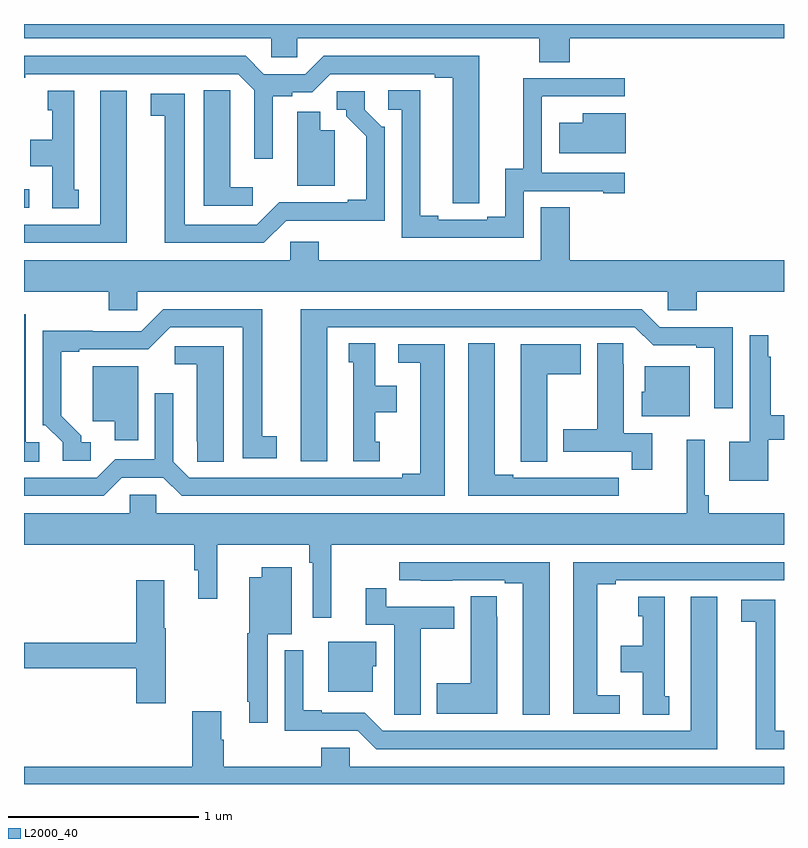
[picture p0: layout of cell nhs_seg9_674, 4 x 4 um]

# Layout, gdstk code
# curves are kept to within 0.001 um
import gdstk
lib = gdstk.Library(unit=1e-6, precision=1e-09)
def R(c, l, rs):  # rectangles x0, y0, x1, y1
    for r in rs: c.add(gdstk.rectangle(r[:2], r[2:], *l))
def P(c, l, *ps):  # polygons
    for p in ps: c.add(gdstk.Polygon(p, *l))
L2000_40 = (2000, 40)

nhs_seg9_674 = lib.new_cell('nhs_seg9_674')
R(nhs_seg9_674, L2000_40, [(145,1191.534,145.027,1191.63)])
P(nhs_seg9_674, L2000_40, [(147.872,1192.424),(149,1192.424),(149,1192.5),(145,1192.5),(145,1192.424),(146.301,1192.424),(146.301,1192.326),(146.439,1192.326),(146.439,1192.424),(147.712,1192.424),(147.712,1192.3),(147.872,1192.3)],
  [(147.396,1191.664),(147.397,1192.332),(146.577,1192.332),(146.481,1192.236),(146.263,1192.236),(146.167,1192.332),(145,1192.332),(145,1192.216),(145.006,1192.216),(145.006,1192.236),(146.127,1192.236),(146.211,1192.152),(146.211,1191.792),(146.308,1191.792),(146.308,1192.12),(146.412,1192.12),(146.412,1192.14),(146.517,1192.14),(146.613,1192.236),(147.161,1192.236),(147.161,1192.216),(147.257,1192.216),(147.257,1191.556),(147.396,1191.556)],
  [(147.63,1191.621),(148.049,1191.621),(148.049,1191.609),(148.162,1191.609),(148.162,1191.717),(147.726,1191.717),(147.726,1192.118),(147.728,1192.118),(147.728,1192.119),(148.162,1192.119),(148.162,1192.215),(147.628,1192.215),(147.628,1191.737),(147.533,1191.737),(147.533,1191.486),(147.437,1191.486),(147.437,1191.471),(147.181,1191.471),(147.181,1191.491),(147.085,1191.491),(147.085,1192.151),(146.916,1192.151),(146.916,1192.05),(146.988,1192.05),(146.988,1191.375),(147.63,1191.375)],
  [(146.203,1191.64),(146.086,1191.64),(146.086,1192.043),(146.085,1192.043),(146.085,1192.151),(145.946,1192.151),(145.946,1191.543),(146.203,1191.543)],
  [(145.288,1191.627),(145.264,1191.627),(145.264,1192.15),(145.124,1192.15),(145.124,1192.047),(145.148,1192.047),(145.148,1191.892),(145.034,1191.892),(145.034,1191.752),(145.148,1191.752),(145.148,1191.529),(145.288,1191.529)],
  [(145.54,1192.15),(145.4,1192.15),(145.4,1191.444),(145,1191.444),(145,1191.348),(145.54,1191.348)],
  [(146.379,1191.465),(146.898,1191.464),(146.898,1191.96),(146.883,1191.96),(146.793,1192.05),(146.793,1192.146),(146.646,1192.146),(146.646,1192.05),(146.696,1192.05),(146.696,1192.015),(146.801,1191.91),(146.801,1191.574),(146.705,1191.574),(146.705,1191.561),(146.343,1191.561),(146.226,1191.444),(145.846,1191.444),(145.846,1192.134),(145.668,1192.134),(145.668,1192.018),(145.742,1192.018),(145.742,1191.348),(146.262,1191.348)],
  [(146.635,1191.94),(146.56,1191.94),(146.56,1192.039),(146.438,1192.039),(146.438,1191.65),(146.635,1191.65)],
  [(148.168,1192.03),(147.941,1192.03),(147.941,1191.979),(147.816,1191.979),(147.816,1191.821),(148.168,1191.821)],
  [(145.596,1191.092),(148.389,1191.092),(148.389,1190.994),(148.541,1190.994),(148.541,1191.092),(149,1191.092),(149,1191.256),(147.872,1191.256),(147.872,1191.536),(147.719,1191.536),(147.719,1191.256),(146.552,1191.256),(146.552,1191.354),(146.4,1191.354),(146.4,1191.256),(145,1191.256),(145,1191.092),(145.445,1191.092),(145.445,1190.994),(145.596,1190.994)],
  [(146.596,1190.904),(148.215,1190.904),(148.311,1190.808),(148.538,1190.808),(148.538,1190.796),(148.634,1190.796),(148.634,1190.478),(148.731,1190.478),(148.731,1190.904),(148.347,1190.904),(148.251,1191),(146.456,1191),(146.456,1190.199),(146.596,1190.199)],
  [(145.351,1190.298),(145.3,1190.298),(145.3,1190.333),(145.195,1190.438),(145.195,1190.775),(145.291,1190.775),(145.291,1190.787),(145.653,1190.787),(145.77,1190.904),(146.15,1190.904),(146.15,1190.214),(146.329,1190.214),(146.329,1190.33),(146.254,1190.33),(146.254,1191),(145.734,1191),(145.617,1190.883),(145.361,1190.883),(145.361,1190.885),(145.098,1190.885),(145.098,1190.388),(145.113,1190.388),(145.203,1190.298),(145.203,1190.202),(145.351,1190.202)],
  [(145.081,1190.298),(145.008,1190.298),(145.008,1190.973),(145,1190.973),(145,1190.197),(145.081,1190.197)],
  [(148.918,1190.312),(149,1190.312),(149,1190.442),(148.93,1190.442),(148.93,1190.75),(148.918,1190.75),(148.918,1190.863),(148.821,1190.863),(148.821,1190.302),(148.712,1190.302),(148.712,1190.096),(148.918,1190.096)],
  [(146.872,1190.301),(146.848,1190.301),(146.848,1190.456),(146.962,1190.456),(146.962,1190.596),(146.848,1190.596),(146.848,1190.819),(146.708,1190.819),(146.708,1190.721),(146.732,1190.721),(146.732,1190.199),(146.872,1190.199)],
  [(148.129,1190.112),(148.016,1190.112),(148.016,1190.113),(147.85,1190.113),(147.85,1190.112),(147.574,1190.112),(147.574,1190.127),(147.478,1190.127),(147.478,1190.819),(147.338,1190.819),(147.338,1190.016),(148.129,1190.016)],
  [(148.307,1190.346),(148.156,1190.346),(148.156,1190.708),(148.155,1190.708),(148.155,1190.819),(148.016,1190.819),(148.016,1190.367),(147.839,1190.367),(147.839,1190.25),(148.198,1190.25),(148.198,1190.154),(148.307,1190.154)],
  [(147.754,1190.656),(147.931,1190.656),(147.931,1190.815),(147.614,1190.815),(147.614,1190.305),(147.615,1190.305),(147.615,1190.197),(147.754,1190.197)],
  [(145.515,1190.112),(145.733,1190.112),(145.829,1190.016),(147.214,1190.016),(147.214,1190.814),(146.97,1190.814),(146.97,1190.718),(147.086,1190.718),(147.086,1190.132),(146.99,1190.132),(146.99,1190.112),(145.869,1190.112),(145.785,1190.196),(145.785,1190.557),(145.689,1190.557),(145.689,1190.208),(145.479,1190.208),(145.383,1190.112),(145,1190.112),(145,1190.016),(145.419,1190.016)],
  [(146.05,1190.805),(145.794,1190.805),(145.794,1190.708),(145.91,1190.708),(145.91,1190.305),(145.911,1190.305),(145.911,1190.197),(146.05,1190.197)],
  [(148.504,1190.698),(148.268,1190.698),(148.268,1190.565),(148.25,1190.565),(148.25,1190.435),(148.504,1190.435)],
  [(145.6,1190.698),(145.361,1190.698),(145.361,1190.408),(145.478,1190.408),(145.478,1190.31),(145.6,1190.31)],
  [(146.618,1189.76),(149,1189.76),(149,1189.924),(148.604,1189.924),(148.604,1190.02),(148.584,1190.02),(148.584,1190.311),(148.487,1190.311),(148.487,1189.924),(145.695,1189.924),(145.695,1190.022),(145.557,1190.022),(145.557,1189.924),(145,1189.924),(145,1189.76),(145.897,1189.76),(145.897,1189.626),(145.916,1189.626),(145.916,1189.476),(146.016,1189.476),(146.016,1189.76),(146.5,1189.76),(146.5,1189.664),(146.52,1189.664),(146.52,1189.374),(146.618,1189.374)],
  [(147.766,1189.668),(146.976,1189.668),(146.976,1189.572),(147.088,1189.572),(147.088,1189.571),(147.254,1189.571),(147.254,1189.572),(147.53,1189.572),(147.53,1189.557),(147.626,1189.557),(147.626,1188.865),(147.766,1188.865)],
  [(148.135,1188.966),(148.018,1188.966),(148.018,1189.552),(148.114,1189.552),(148.114,1189.572),(149,1189.572),(149,1189.668),(147.89,1189.668),(147.89,1188.87),(148.135,1188.87)],
  [(146.283,1189.289),(146.41,1189.289),(146.41,1189.642),(146.252,1189.642),(146.252,1189.588),(146.186,1189.588),(146.186,1189.293),(146.175,1189.293),(146.175,1188.934),(146.186,1188.934),(146.186,1188.822),(146.283,1188.822)],
  [(145.746,1189.321),(145.738,1189.321),(145.738,1189.573),(145.592,1189.573),(145.592,1189.244),(145,1189.244),(145,1189.108),(145.592,1189.108),(145.592,1188.924),(145.746,1188.924)],
  [(147.088,1189.318),(147.265,1189.318),(147.265,1189.434),(146.906,1189.434),(146.906,1189.531),(146.798,1189.531),(146.798,1189.338),(146.948,1189.338),(146.948,1188.976),(146.949,1188.976),(146.949,1188.865),(147.088,1188.865)],
  [(147.49,1189.379),(147.489,1189.379),(147.489,1189.487),(147.35,1189.487),(147.35,1189.029),(147.173,1189.029),(147.173,1188.869),(147.49,1188.869)],
  [(148.396,1188.963),(148.372,1188.963),(148.372,1189.486),(148.232,1189.486),(148.232,1189.383),(148.256,1189.383),(148.256,1189.228),(148.142,1189.228),(148.142,1189.088),(148.256,1189.088),(148.256,1188.865),(148.396,1188.865)],
  [(148.648,1189.486),(148.508,1189.486),(148.508,1188.78),(146.889,1188.78),(146.793,1188.876),(146.566,1188.876),(146.566,1188.889),(146.47,1188.889),(146.47,1189.204),(146.373,1189.204),(146.373,1188.78),(146.757,1188.78),(146.853,1188.684),(148.648,1188.684)],
  [(149,1188.78),(148.954,1188.78),(148.954,1189.47),(148.776,1189.47),(148.776,1189.354),(148.85,1189.354),(148.85,1188.684),(149,1188.684)],
  [(146.836,1189.119),(146.854,1189.119),(146.854,1189.249),(146.6,1189.249),(146.6,1188.986),(146.836,1188.986)],
  [(149,1188.592),(146.715,1188.592),(146.715,1188.69),(146.564,1188.69),(146.564,1188.592),(146.051,1188.592),(146.051,1188.734),(146.038,1188.734),(146.038,1188.883),(145.886,1188.883),(145.886,1188.592),(145,1188.592),(145,1188.5),(149,1188.5)])

lib.write_gds('nhs_seg9_674.gds')
